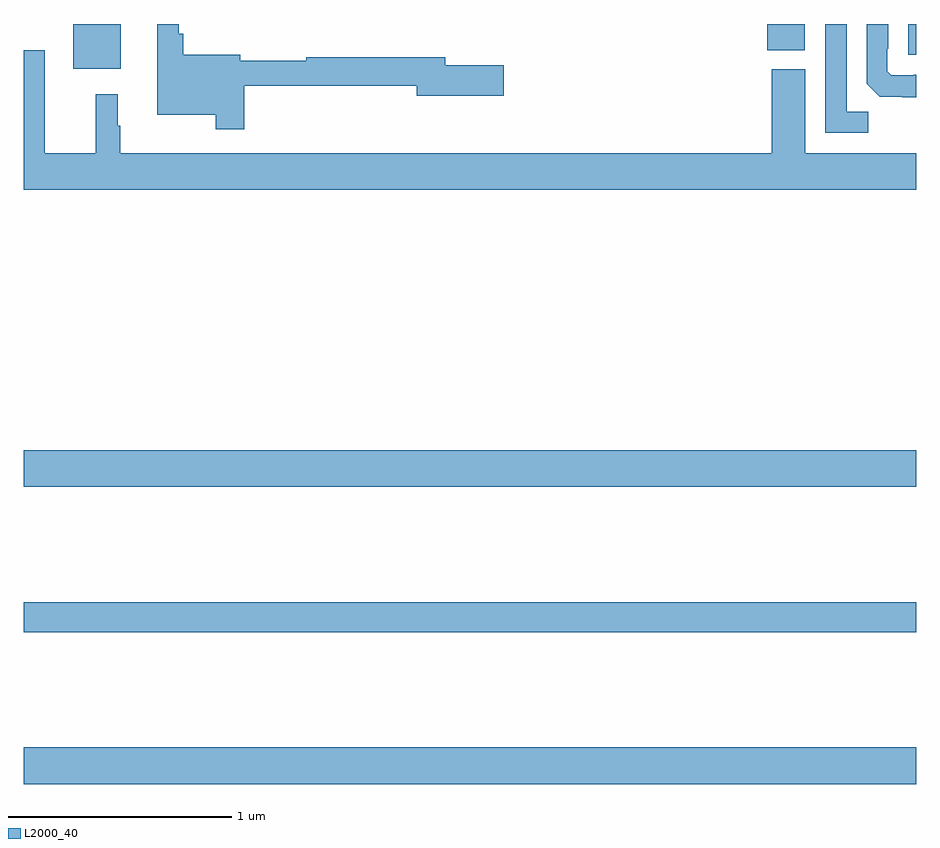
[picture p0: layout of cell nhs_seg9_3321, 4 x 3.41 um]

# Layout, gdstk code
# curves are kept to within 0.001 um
import gdstk
lib = gdstk.Library(unit=1e-6, precision=1e-09)
def R(c, l, rs):  # rectangles x0, y0, x1, y1
    for r in rs: c.add(gdstk.rectangle(r[:2], r[2:], *l))
def P(c, l, *ps):  # polygons
    for p in ps: c.add(gdstk.Polygon(p, *l))
L2000_40 = (2000, 40)

nhs_seg9_3321 = lib.new_cell('nhs_seg9_3321')
R(nhs_seg9_3321, L2000_40, [(301,1191.092,305,1191.256), (301,1191.772,305,1191.908), (301,1192.424,305,1192.588), (301.22,1194.299,301.435,1194.5), (304.965,1194.363,305,1194.5), (304.334,1194.383,304.501,1194.5)])
P(nhs_seg9_3321, L2000_40, [(304.785,1194.107),(304.689,1194.107),(304.689,1194.5),(304.593,1194.5),(304.593,1194.012),(304.785,1194.012)],
  [(305,1194.273),(304.99,1194.273),(304.99,1194.27),(304.89,1194.27),(304.872,1194.288),(304.872,1194.388),(304.875,1194.388),(304.875,1194.5),(304.779,1194.5),(304.779,1194.232),(304.838,1194.173),(305,1194.172)],
  [(301.988,1194.222),(302.762,1194.222),(302.762,1194.179),(303.151,1194.179),(303.151,1194.314),(302.89,1194.314),(302.89,1194.35),(302.265,1194.35),(302.265,1194.335),(301.969,1194.335),(301.969,1194.361),(301.715,1194.361),(301.715,1194.457),(301.695,1194.457),(301.695,1194.5),(301.598,1194.5),(301.598,1194.092),(301.86,1194.092),(301.86,1194.027),(301.988,1194.027)],
  [(305,1193.92),(304.504,1193.92),(304.504,1194.298),(304.352,1194.298),(304.352,1193.92),(301.432,1193.92),(301.432,1194.044),(301.42,1194.044),(301.42,1194.184),(301.321,1194.184),(301.321,1193.92),(301.093,1193.92),(301.093,1194.382),(301,1194.382),(301,1193.756),(305,1193.756)])

lib.write_gds('nhs_seg9_3321.gds')
